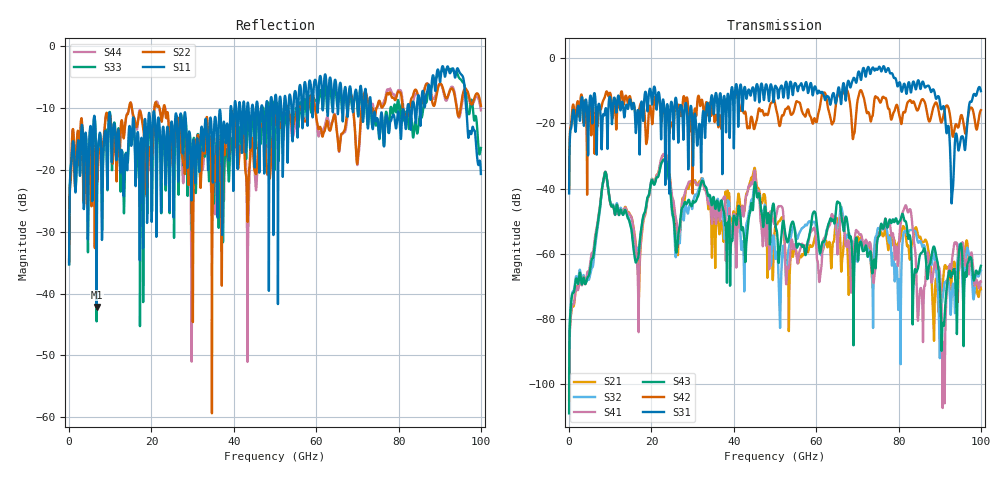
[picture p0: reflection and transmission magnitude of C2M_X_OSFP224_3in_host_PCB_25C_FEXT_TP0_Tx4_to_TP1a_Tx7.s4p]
# GHz S RI R 45
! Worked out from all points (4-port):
!   4000 points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, 25 MHz to 100 GHz, reference 45 ohm
!   strongest paths, dB at 25 MHz, 25.02 GHz, 50.02 GHz, 75.03 GHz, 100 GHz:
!     S31: -41.5, -14.3, -8.6, -3.3, -10.1
!     S42: -40.1, -20.6, -13.9, -12.3, -15.9
!     S43: -109.0, -46.6, -49.7, -54.9, -63.7
!     S41: -102.0, -42.4, -49.9, -54.7, -68.5
!     S32: -98.1, -47.8, -60.3, -52.1, -65.1
!     S21: -104.9, -43.5, -52.0, -53.5, -70.9
!   lowest |S11| = -42.2 dB at 6.7 GHz (marker M1), VSWR 1.02, Z = 45.6 + j0.277 ohm
!   |S11| at or under -10 dB: start of sweep to 39.22 GHz; 73.34 GHz to 82.17 GHz (8.829 GHz wide, 11.4 % of centre); 96.41 GHz to end of sweep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
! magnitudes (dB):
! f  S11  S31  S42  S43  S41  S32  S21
! 25 MHz  -35.2  -41.5  -40.1  -109.0  -102.0  -98.1  -104.9
! 6.7 GHz  -42.2  -29.6  -19.4  -53.1  -52.1  -54.5  -53.1
! 23.15 GHz  -15.5  -16.7  -15.6  -31.1  -29.5  -31.7  -30.1
! 51.2 GHz  -8.2  -9.4  -20.8  -58.6  -45.4  -80.9  -49.9
! 76.42 GHz  -16.1  -2.5  -12.0  -52.0  -52.0  -52.2  -54.3
! 93.05 GHz  -3.7  -41.8  -23.4  -66.2  -61.3  -70.9  -65.1
! 100 GHz  -20.7  -10.1  -15.9  -63.7  -68.5  -65.1  -70.9
